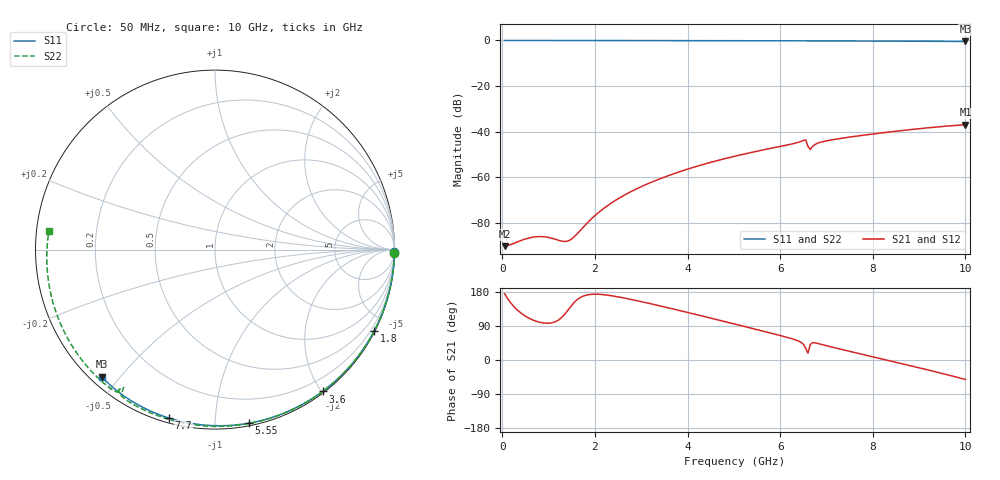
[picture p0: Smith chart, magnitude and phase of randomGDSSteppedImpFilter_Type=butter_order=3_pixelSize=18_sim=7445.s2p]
! freq	dB(S11)	phase(S11)	dB(S12)	phase(S12)
!  dB(S21)	phase(S21)	dB(S22)	phase(S22)
!S-par simulation data
#  GHz  S  DB  R 50
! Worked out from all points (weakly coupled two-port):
!   200 points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, 50 MHz to 10 GHz, reference 50 ohm
!   highest |S21| = -36.91 dB at 10 GHz (marker M1); lowest = -90.1 dB at 50 MHz (marker M2)
!   lowest |S11| = -0.5 dB at 10 GHz (marker M3), VSWR 38.58, Z = 1.56 - j22.4 ohm
!   |S11| at or under -10 dB: nowhere
!   |S22| runs from -0.7 to 0.0 dB; largest |S21 - S12| = 0
!   S11 on the Smith chart (normalised r, x): 50 MHz: open; 1.8 GHz: 0.04, -4.16; 3.6 GHz: 0.02, -2.01; 5.55 GHz: 0.02, -1.22; 7.7 GHz: 0.02, -0.76; 10 GHz: 0.03, -0.45
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0.05  -0.00 -0.8  -90.09 175.2  -90.09 175.2  -0.00 -1.0
0.85  -0.01 -12.9  -85.91 98.5  -85.91 98.5  -0.02 -17.4
1.75  -0.03 -26.3  -81.72 168.7  -81.72 168.7  -0.04 -35.3
1.8  -0.03 -27.0  -80.64 170.7  -80.64 170.7  -0.05 -36.3
2.2  -0.04 -32.9  -73.42 172.2  -73.42 172.2  -0.06 -44.2
2.5  -0.05 -37.2  -69.35 166.7  -69.35 166.7  -0.06 -50.0
2.9  -0.06 -42.9  -64.99 156.8  -64.99 156.8  -0.07 -57.6
3.4  -0.07 -50.0  -60.62 142.9  -60.62 142.9  -0.09 -67.0
3.6  -0.07 -52.8  -59.10 137.2  -59.10 137.2  -0.09 -70.7
4.3  -0.09 -62.4  -54.52 116.6  -54.52 116.6  -0.12 -83.5
5.05  -0.11 -72.4  -50.55 94.0  -50.55 94.0  -0.15 -96.9
5.55  -0.13 -78.9  -48.30 78.7  -48.30 78.7  -0.18 -105.7
6.3  -0.16 -88.3  -45.12 54.4  -45.12 54.4  -0.23 -119.1
6.55  -0.17 -91.5  -43.56 31.5  -43.56 31.5  -0.47 -124.6
6.6  -0.18 -92.1  -46.36 17.9  -46.36 17.9  -0.71 -123.5
6.65  -0.18 -92.7  -47.79 40.5  -47.79 40.5  -0.45 -123.1
6.7  -0.18 -93.3  -46.37 45.8  -46.37 45.8  -0.33 -124.4
6.95  -0.19 -96.4  -44.20 39.2  -44.20 39.2  -0.28 -129.4
7.7  -0.24 -105.4  -41.76 17.1  -41.76 17.1  -0.34 -142.7
8.35  -0.29 -113.0  -40.11 -1.5  -40.11 -1.5  -0.40 -154.4
9.2  -0.36 -122.8  -38.24 -26.3  -38.24 -26.3  -0.51 -170.3
10  -0.45 -131.7  -36.91 -51.3  -36.91 -51.3  -0.62 173.6
